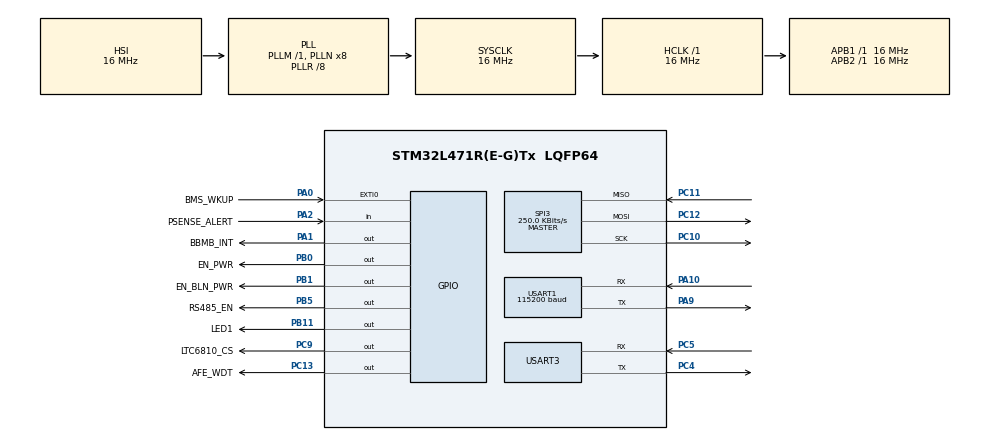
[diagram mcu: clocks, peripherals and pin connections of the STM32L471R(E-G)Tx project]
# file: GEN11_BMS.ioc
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Dma.Request0=USART1_RX
Dma.Request1=USART1_TX
Dma.USART1_RX.0.Direction=DMA_PERIPH_TO_MEMORY
Dma.USART1_RX.0.Instance=DMA1_Channel5
Dma.USART1_RX.0.MemDataAlignment=DMA_MDATAALIGN_BYTE
Dma.USART1_RX.0.MemInc=DMA_MINC_ENABLE
Dma.USART1_RX.0.Mode=DMA_CIRCULAR
Dma.USART1_RX.0.PeriphDataAlignment=DMA_PDATAALIGN_BYTE
Dma.USART1_RX.0.PeriphInc=DMA_PINC_DISABLE
Dma.USART1_RX.0.Priority=DMA_PRIORITY_HIGH
Dma.USART1_TX.1.Direction=DMA_MEMORY_TO_PERIPH
Dma.USART1_TX.1.Instance=DMA1_Channel4
Dma.USART1_TX.1.MemDataAlignment=DMA_MDATAALIGN_BYTE
Dma.USART1_TX.1.MemInc=DMA_MINC_ENABLE
Dma.USART1_TX.1.Mode=DMA_NORMAL
Dma.USART1_TX.1.PeriphDataAlignment=DMA_PDATAALIGN_BYTE
Dma.USART1_TX.1.PeriphInc=DMA_PINC_DISABLE
Dma.USART1_TX.1.Priority=DMA_PRIORITY_MEDIUM
FREERTOS.Tasks01=defaultTask,0,128,StartDefaultTask,Default,NULL,Dynamic,NULL,NULL
FREERTOS.configTOTAL_HEAP_SIZE=15000
FREERTOS.configUSE_NEWLIB_REENTRANT=1
FREERTOS.configUSE_TIMERS=1
Mcu.Family=STM32L4
Mcu.Name=STM32L471R(E-G)Tx
Mcu.Package=LQFP64
NVIC.DMA1_Channel4_IRQn=true\:5\:0\:false\:false\:true\:true\:false\:true\:true
NVIC.DMA1_Channel5_IRQn=true\:5\:0\:false\:false\:true\:true\:false\:true\:true
NVIC.PriorityGroup=NVIC_PRIORITYGROUP_4
NVIC.TIM6_DAC_IRQn=true\:15\:0\:false\:false\:true\:false\:false\:true\:true
NVIC.TIM7_IRQn=true\:5\:0\:false\:false\:true\:true\:true\:true\:true
NVIC.TimeBase=TIM6_DAC_IRQn
NVIC.TimeBaseIP=TIM6
NVIC.USART1_IRQn=true\:5\:0\:false\:false\:true\:true\:true\:true\:true
PA0.GPIO_Label=BMS_WKUP
PA0.Signal=GPXTI0
PA1.GPIO_Label=BBMB_INT
PA1.Signal=GPIO_Output
PA10.Mode=Asynchronous
PA10.Signal=USART1_RX
PA13\ (JTMS-SWDIO).Mode=JTAG_5_pins
PA13\ (JTMS-SWDIO).Signal=SYS_JTMS-SWDIO
PA14\ (JTCK-SWCLK).Mode=JTAG_5_pins
PA14\ (JTCK-SWCLK).Signal=SYS_JTCK-SWCLK
PA15\ (JTDI).Mode=JTAG_5_pins
PA15\ (JTDI).Signal=SYS_JTDI
PA2.GPIO_Label=PSENSE_ALERT
PA2.Signal=GPIO_Input
PA9.Mode=Asynchronous
PA9.Signal=USART1_TX
PB0.GPIO_Label=EN_PWR
PB0.Signal=GPIO_Output
PB1.GPIO_Label=EN_BLN_PWR
PB1.Signal=GPIO_Output
PB11.GPIO_Label=LED1
PB11.Signal=GPIO_Output
PB3\ (JTDO-TRACESWO).Mode=JTAG_5_pins
PB3\ (JTDO-TRACESWO).Signal=SYS_JTDO-SWO
PB4\ (NJTRST).Mode=JTAG_5_pins
PB4\ (NJTRST).Signal=SYS_JTRST
PB5.GPIO_Label=RS485_EN
PB5.Signal=GPIO_Output
PC10.Mode=Full_Duplex_Master
PC10.Signal=SPI3_SCK
PC11.Mode=Full_Duplex_Master
PC11.Signal=SPI3_MISO
PC12.Mode=Full_Duplex_Master
PC12.Signal=SPI3_MOSI
PC13.GPIO_Label=AFE_WDT
PC13.Signal=GPIO_Output
PC4.Mode=Asynchronous
PC4.Signal=USART3_TX
PC5.Mode=Asynchronous
PC5.Signal=USART3_RX
PC9.GPIO_Label=LTC6810_CS
PC9.Signal=GPIO_Output
PH0-OSC_IN\ (PH0).Mode=HSE-External-Oscillator
PH0-OSC_IN\ (PH0).Signal=RCC_OSC_IN
PH1-OSC_OUT\ (PH1).Mode=HSE-External-Oscillator
PH1-OSC_OUT\ (PH1).Signal=RCC_OSC_OUT
ProjectManager.HeapSize=0x200
ProjectManager.StackSize=0x400
ProjectManager.TargetToolchain=STM32CubeIDE
RCC.ADCFreq_Value=64000000
RCC.AHBFreq_Value=16000000
RCC.APB1Freq_Value=16000000
RCC.APB1TimFreq_Value=16000000
RCC.APB2Freq_Value=16000000
RCC.APB2TimFreq_Value=16000000
RCC.CortexFreq_Value=16000000
RCC.HCLKFreq_Value=16000000
RCC.HSE_VALUE=8000000
RCC.HSI_VALUE=16000000
RCC.LSE_VALUE=32768
RCC.MSI_VALUE=4000000
RCC.PLLR=RCC_PLLR_DIV8
RCC.PLLSourceVirtual=RCC_PLLSOURCE_HSI
RCC.SYSCLKFreq_VALUE=16000000
RCC.SYSCLKSource=RCC_SYSCLKSOURCE_PLLCLK
RCC.VCOOutputFreq_Value=128000000
SPI3.BaudRatePrescaler=SPI_BAUDRATEPRESCALER_64
SPI3.CLKPhase=SPI_PHASE_2EDGE
SPI3.CLKPolarity=SPI_POLARITY_HIGH
SPI3.CalculateBaudRate=250.0 KBits/s
SPI3.DataSize=SPI_DATASIZE_8BIT
SPI3.Direction=SPI_DIRECTION_2LINES
SPI3.Mode=SPI_MODE_MASTER
SPI3.VirtualType=VM_MASTER
TIM7.Period=999
TIM7.Prescaler=63999
USART1.BaudRate=115200
USART1.OneBitSampling=UART_ONE_BIT_SAMPLE_DISABLE
USART1.VirtualMode-Asynchronous=VM_ASYNC
USART3.VirtualMode-Asynchronous=VM_ASYNC
VP_CRC_VS_CRC.Mode=CRC_Activate
VP_FREERTOS_VS_CMSIS_V1.Mode=CMSIS_V1
VP_SYS_VS_tim6.Mode=TIM6
VP_TIM7_VS_ClockSourceINT.Mode=Enable_Timer
board=custom

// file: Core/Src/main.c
/* USER CODE BEGIN Header */
/**
  ******************************************************************************
  * @file           : main.c
  * @brief          : Main program body
  ******************************************************************************
  * @attention
  *
  * Copyright (c) 2022 STMicroelectronics.
  * All rights reserved.
  *
  * This software is licensed under terms that can be found in the LICENSE file
  * in the root directory of this software component.
  * If no LICENSE file comes with this software, it is provided AS-IS.
  *
  ******************************************************************************
  */
/* USER CODE END Header */
#include "main.h"
#include "cmsis_os.h"

/* USER CODE BEGIN Includes */
#include "buart.h"
#include "btcp.h"
#include "protocol_ids.h"
//#include "batteryEKF.h"
#include "LTC6810.h"
#include "timers.h"
/* USER CODE END Includes */

/* USER CODE BEGIN PD */
// -------------- NEED TO UPDATE FOR EVERY BMS BEFORE FLASHING --------------//
#define MY_ID 1 //ID of this BMS (needed to determine if BBMB is talking to me or another BMS)
// ^^^^^^^^^^^^^^ NEED TO UPDATE FOR EVERY BMS BEFORE FLASHING ^^^^^^^^^^^^^^//

#define NUM_CELLS 6
#define NUM_TEMP_SENSE 3
#define SEND_PERIOD 200
#define MEAS_PERIOD 200

#define OV_THRESHOLD 4.2
#define UV_THRESHOLD 2.5
#define OT_THRESHOLD 60

#define TEMP_CORRECTION_MULTIPLIER 1.0
#define TEMP_CORRECTION_OFFSET 0.0

#define TCP_ID BMS_ID

/* USER CODE END PD */

 CRC_HandleTypeDef hcrc;

SPI_HandleTypeDef hspi3;

TIM_HandleTypeDef htim7;

UART_HandleTypeDef huart1;
UART_HandleTypeDef huart3;
DMA_HandleTypeDef hdma_usart1_rx;
DMA_HandleTypeDef hdma_usart1_tx;

osThreadId defaultTaskHandle;
/* USER CODE BEGIN PV */
uint8_t dataToSend[16]; //data organized by function [LTC6810CommandGenerate]
//ready to be transmitted via SPI3
int messageInBinary; //write this in binary. This goes into [LTC6810CommandGenerate]
uint8_t dataToReceive[8] = { 0, 0, 0, 0, 0, 0, 0, 0 };//voltage data from LTC6810 via SPI
uint8_t MSG[500] = { '\0' }; //for sending UART message

/* USER CODE END PV */

void SystemClock_Config(void);
static void MX_GPIO_Init(void);
static void MX_USART1_UART_Init(void);
static void MX_USART3_UART_Init(void);
static void MX_CRC_Init(void);
static void MX_DMA_Init(void);
static void MX_SPI3_Init(void);
static void MX_TIM7_Init(void);
void StartDefaultTask(void const * argument);

/* USER CODE BEGIN PFP */
void LTC6810_callback(TimerHandle_t xTimer);

void send_temp_volt();
void send_error_msg(uint8_t cell_id, uint8_t error_code,  float data_to_send);

/* USER CODE END PFP */

/* USER CODE BEGIN 0 */
//--- COMMS ---///
B_uartHandle_t* buart;
B_tcpHandle_t* btcp;

//EKF_Battery battery;

float voltage_array[NUM_CELLS]; //Voltage measurements
float SoC_array[NUM_CELLS]; //State of Charge of each cell
float temperature_array[NUM_TEMP_SENSE]; //Temperature measurements

//--- LTC6810 ---//
uint8_t start_LTC6810_meas = 1; //Flag to start LTC6810 measurements
int temp1, temp2, temp3, temp4, temp5, temp6; // data received via spi, msb which?
/* USER CODE END 0 */

int main(void)
{

  /* MCU Configuration--------------------------------------------------------*/

  /* Reset of all peripherals, Initializes the Flash interface and the Systick. */
  HAL_Init();

  /* Configure the system clock */
  SystemClock_Config();

  /* Initialize all configured peripherals */
  MX_GPIO_Init();
  MX_USART1_UART_Init();
  MX_USART3_UART_Init();
  MX_CRC_Init();
  MX_DMA_Init();
  MX_SPI3_Init();
  MX_TIM7_Init();
  /* USER CODE BEGIN 2 */
  //--- MCU OK LED ---//
  NVIC_EnableIRQ(TIM7_IRQn);
  HAL_TIM_Base_Start_IT((TIM_HandleTypeDef*) &htim7); //Blink LED to show that CPU is still alive

  //--- COMMS ---//
  buart = B_uartStart(&huart1);
  btcp = B_tcpStart_bms(BMS_ID, &buart, buart, 1, &hcrc);

  //--- LTC6810 ---//
  LTC6810Init(0, 0, 1, 0, 0, 0, 0 ,0);

  //--- FREERTOS ---//
  xTimerStart(xTimerCreate("LTC6810_Timer",  pdMS_TO_TICKS(MEAS_PERIOD), pdTRUE, (void *)0, LTC6810_callback), 0); //Temperature and voltage measurements

  //--- SOC ALGO ---//
//  initBatteryAlgo(&battery);

  /* USER CODE END 2 */

  /* Create the thread(s) */
  /* definition and creation of defaultTask */
  osThreadDef(defaultTask, StartDefaultTask, osPriorityNormal, 0, 128);
  defaultTaskHandle = osThreadCreate(osThread(defaultTask), NULL);

  /* Start scheduler */
  osKernelStart();

  /* We should never get here as control is now taken by the scheduler */
  /* Infinite loop */
  while (1)
  {

  }
}

void SystemClock_Config(void)
{
  RCC_OscInitTypeDef RCC_OscInitStruct = {0};
  RCC_ClkInitTypeDef RCC_ClkInitStruct = {0};

  /** Configure the main internal regulator output voltage
  */
  if (HAL_PWREx_ControlVoltageScaling(PWR_REGULATOR_VOLTAGE_SCALE1) != HAL_OK)
  {
    Error_Handler();
  }

  /** Initializes the RCC Oscillators according to the specified parameters
  * in the RCC_OscInitTypeDef structure.
  */
  RCC_OscInitStruct.OscillatorType = RCC_OSCILLATORTYPE_HSI;
  RCC_OscInitStruct.HSIState = RCC_HSI_ON;
  RCC_OscInitStruct.HSICalibrationValue = RCC_HSICALIBRATION_DEFAULT;
  RCC_OscInitStruct.PLL.PLLState = RCC_PLL_ON;
  RCC_OscInitStruct.PLL.PLLSource = RCC_PLLSOURCE_HSI;
  RCC_OscInitStruct.PLL.PLLM = 1;
  RCC_OscInitStruct.PLL.PLLN = 8;
  RCC_OscInitStruct.PLL.PLLP = RCC_PLLP_DIV7;
  RCC_OscInitStruct.PLL.PLLQ = RCC_PLLQ_DIV2;
  RCC_OscInitStruct.PLL.PLLR = RCC_PLLR_DIV8;
  if (HAL_RCC_OscConfig(&RCC_OscInitStruct) != HAL_OK)
  {
    Error_Handler();
  }

  /** Initializes the CPU, AHB and APB buses clocks
  */
  RCC_ClkInitStruct.ClockType = RCC_CLOCKTYPE_HCLK|RCC_CLOCKTYPE_SYSCLK
                              |RCC_CLOCKTYPE_PCLK1|RCC_CLOCKTYPE_PCLK2;
  RCC_ClkInitStruct.SYSCLKSource = RCC_SYSCLKSOURCE_PLLCLK;
  RCC_ClkInitStruct.AHBCLKDivider = RCC_SYSCLK_DIV1;
  RCC_ClkInitStruct.APB1CLKDivider = RCC_HCLK_DIV1;
  RCC_ClkInitStruct.APB2CLKDivider = RCC_HCLK_DIV1;

  if (HAL_RCC_ClockConfig(&RCC_ClkInitStruct, FLASH_LATENCY_0) != HAL_OK)
  {
    Error_Handler();
  }
}

static void MX_CRC_Init(void)
{

  hcrc.Instance = CRC;
  hcrc.Init.DefaultPolynomialUse = DEFAULT_POLYNOMIAL_ENABLE;
  hcrc.Init.DefaultInitValueUse = DEFAULT_INIT_VALUE_ENABLE;
  hcrc.Init.InputDataInversionMode = CRC_INPUTDATA_INVERSION_NONE;
  hcrc.Init.OutputDataInversionMode = CRC_OUTPUTDATA_INVERSION_DISABLE;
  hcrc.InputDataFormat = CRC_INPUTDATA_FORMAT_BYTES;
  if (HAL_CRC_Init(&hcrc) != HAL_OK)
  {
    Error_Handler();
  }

}

static void MX_SPI3_Init(void)
{

  /* SPI3 parameter configuration*/
  hspi3.Instance = SPI3;
  hspi3.Init.Mode = SPI_MODE_MASTER;
  hspi3.Init.Direction = SPI_DIRECTION_2LINES;
  hspi3.Init.DataSize = SPI_DATASIZE_8BIT;
  hspi3.Init.CLKPolarity = SPI_POLARITY_HIGH;
  hspi3.Init.CLKPhase = SPI_PHASE_2EDGE;
  hspi3.Init.NSS = SPI_NSS_SOFT;
  hspi3.Init.BaudRatePrescaler = SPI_BAUDRATEPRESCALER_64;
  hspi3.Init.FirstBit = SPI_FIRSTBIT_MSB;
  hspi3.Init.TIMode = SPI_TIMODE_DISABLE;
  hspi3.Init.CRCCalculation = SPI_CRCCALCULATION_DISABLE;
  hspi3.Init.CRCPolynomial = 7;
  hspi3.Init.CRCLength = SPI_CRC_LENGTH_DATASIZE;
  hspi3.Init.NSSPMode = SPI_NSS_PULSE_DISABLE;
  if (HAL_SPI_Init(&hspi3) != HAL_OK)
  {
    Error_Handler();
  }

}

static void MX_TIM7_Init(void)
{

  TIM_MasterConfigTypeDef sMasterConfig = {0};

  htim7.Instance = TIM7;
  htim7.Init.Prescaler = 63999;
  htim7.Init.CounterMode = TIM_COUNTERMODE_UP;
  htim7.Init.Period = 999;
  htim7.Init.AutoReloadPreload = TIM_AUTORELOAD_PRELOAD_DISABLE;
  if (HAL_TIM_Base_Init(&htim7) != HAL_OK)
  {
    Error_Handler();
  }
  sMasterConfig.MasterOutputTrigger = TIM_TRGO_RESET;
  sMasterConfig.MasterSlaveMode = TIM_MASTERSLAVEMODE_DISABLE;
  if (HAL_TIMEx_MasterConfigSynchronization(&htim7, &sMasterConfig) != HAL_OK)
  {
    Error_Handler();
  }

}

static void MX_USART1_UART_Init(void)
{

  huart1.Instance = USART1;
  huart1.Init.BaudRate = 115200;
  huart1.Init.WordLength = UART_WORDLENGTH_8B;
  huart1.Init.StopBits = UART_STOPBITS_1;
  huart1.Init.Parity = UART_PARITY_NONE;
  huart1.Init.Mode = UART_MODE_TX_RX;
  huart1.Init.HwFlowCtl = UART_HWCONTROL_NONE;
  huart1.Init.OverSampling = UART_OVERSAMPLING_16;
  huart1.Init.OneBitSampling = UART_ONE_BIT_SAMPLE_DISABLE;
  huart1.AdvancedInit.AdvFeatureInit = UART_ADVFEATURE_NO_INIT;
  if (HAL_UART_Init(&huart1) != HAL_OK)
  {
    Error_Handler();
  }

}

static void MX_USART3_UART_Init(void)
{

  huart3.Instance = USART3;
  huart3.Init.BaudRate = 115200;
  huart3.Init.WordLength = UART_WORDLENGTH_8B;
  huart3.Init.StopBits = UART_STOPBITS_1;
  huart3.Init.Parity = UART_PARITY_NONE;
  huart3.Init.Mode = UART_MODE_TX_RX;
  huart3.Init.HwFlowCtl = UART_HWCONTROL_NONE;
  huart3.Init.OverSampling = UART_OVERSAMPLING_16;
  huart3.Init.OneBitSampling = UART_ONE_BIT_SAMPLE_DISABLE;
  huart3.AdvancedInit.AdvFeatureInit = UART_ADVFEATURE_NO_INIT;
  if (HAL_UART_Init(&huart3) != HAL_OK)
  {
    Error_Handler();
  }

}

static void MX_DMA_Init(void)
{

  /* DMA controller clock enable */
  __HAL_RCC_DMA1_CLK_ENABLE();

  /* DMA interrupt init */
  /* DMA1_Channel4_IRQn interrupt configuration */
  HAL_NVIC_SetPriority(DMA1_Channel4_IRQn, 5, 0);
  HAL_NVIC_EnableIRQ(DMA1_Channel4_IRQn);
  /* DMA1_Channel5_IRQn interrupt configuration */
  HAL_NVIC_SetPriority(DMA1_Channel5_IRQn, 5, 0);
  HAL_NVIC_EnableIRQ(DMA1_Channel5_IRQn);

}

static void MX_GPIO_Init(void)
{
  GPIO_InitTypeDef GPIO_InitStruct = {0};

  /* GPIO Ports Clock Enable */
  __HAL_RCC_GPIOC_CLK_ENABLE();
  __HAL_RCC_GPIOH_CLK_ENABLE();
  __HAL_RCC_GPIOA_CLK_ENABLE();
  __HAL_RCC_GPIOB_CLK_ENABLE();
  __HAL_RCC_GPIOD_CLK_ENABLE();

  /*Configure GPIO pin Output Level */
  HAL_GPIO_WritePin(GPIOC, AFE_WDT_Pin|LTC6810_CS_Pin, GPIO_PIN_RESET);

  /*Configure GPIO pin Output Level */
  HAL_GPIO_WritePin(BBMB_INT_GPIO_Port, BBMB_INT_Pin, GPIO_PIN_RESET);

  /*Configure GPIO pin Output Level */
  HAL_GPIO_WritePin(GPIOB, EN_PWR_Pin|EN_BLN_PWR_Pin|LED1_Pin|RS485_EN_Pin, GPIO_PIN_RESET);

  /*Configure GPIO pins : AFE_WDT_Pin LTC6810_CS_Pin */
  GPIO_InitStruct.Pin = AFE_WDT_Pin|LTC6810_CS_Pin;
  GPIO_InitStruct.Mode = GPIO_MODE_OUTPUT_PP;
  GPIO_InitStruct.Pull = GPIO_NOPULL;
  GPIO_InitStruct.Speed = GPIO_SPEED_FREQ_LOW;
  HAL_GPIO_Init(GPIOC, &GPIO_InitStruct);

  /*Configure GPIO pins : PC14 PC15 PC0 PC1
                           PC2 PC3 PC6 PC7
                           PC8 */
  GPIO_InitStruct.Pin = GPIO_PIN_14|GPIO_PIN_15|GPIO_PIN_0|GPIO_PIN_1
                          |GPIO_PIN_2|GPIO_PIN_3|GPIO_PIN_6|GPIO_PIN_7
                          |GPIO_PIN_8;
  GPIO_InitStruct.Mode = GPIO_MODE_ANALOG;
  GPIO_InitStruct.Pull = GPIO_NOPULL;
  HAL_GPIO_Init(GPIOC, &GPIO_InitStruct);

  /*Configure GPIO pin : BMS_WKUP_Pin */
  GPIO_InitStruct.Pin = BMS_WKUP_Pin;
  GPIO_InitStruct.Mode = GPIO_MODE_IT_RISING;
  GPIO_InitStruct.Pull = GPIO_NOPULL;
  HAL_GPIO_Init(BMS_WKUP_GPIO_Port, &GPIO_InitStruct);

  /*Configure GPIO pin : BBMB_INT_Pin */
  GPIO_InitStruct.Pin = BBMB_INT_Pin;
  GPIO_InitStruct.Mode = GPIO_MODE_OUTPUT_PP;
  GPIO_InitStruct.Pull = GPIO_NOPULL;
  GPIO_InitStruct.Speed = GPIO_SPEED_FREQ_LOW;
  HAL_GPIO_Init(BBMB_INT_GPIO_Port, &GPIO_InitStruct);

  /*Configure GPIO pin : PSENSE_ALERT_Pin */
  GPIO_InitStruct.Pin = PSENSE_ALERT_Pin;
  GPIO_InitStruct.Mode = GPIO_MODE_INPUT;
  GPIO_InitStruct.Pull = GPIO_NOPULL;
  HAL_GPIO_Init(PSENSE_ALERT_GPIO_Port, &GPIO_InitStruct);

  /*Configure GPIO pins : PA3 PA4 PA5 PA6
                           PA7 PA8 PA11 PA12 */
  GPIO_InitStruct.Pin = GPIO_PIN_3|GPIO_PIN_4|GPIO_PIN_5|GPIO_PIN_6
                          |GPIO_PIN_7|GPIO_PIN_8|GPIO_PIN_11|GPIO_PIN_12;
  GPIO_InitStruct.Mode = GPIO_MODE_ANALOG;
  GPIO_InitStruct.Pull = GPIO_NOPULL;
  HAL_GPIO_Init(GPIOA, &GPIO_InitStruct);

  /*Configure GPIO pins : EN_PWR_Pin EN_BLN_PWR_Pin LED1_Pin RS485_EN_Pin */
  GPIO_InitStruct.Pin = EN_PWR_Pin|EN_BLN_PWR_Pin|LED1_Pin|RS485_EN_Pin;
  GPIO_InitStruct.Mode = GPIO_MODE_OUTPUT_PP;
  GPIO_InitStruct.Pull = GPIO_NOPULL;
  GPIO_InitStruct.Speed = GPIO_SPEED_FREQ_LOW;
  HAL_GPIO_Init(GPIOB, &GPIO_InitStruct);

  /*Configure GPIO pins : PB2 PB10 PB12 PB13
                           PB14 PB15 PB6 PB7
                           PB8 PB9 */
  GPIO_InitStruct.Pin = GPIO_PIN_2|GPIO_PIN_10|GPIO_PIN_12|GPIO_PIN_13
                          |GPIO_PIN_14|GPIO_PIN_15|GPIO_PIN_6|GPIO_PIN_7
                          |GPIO_PIN_8|GPIO_PIN_9;
  GPIO_InitStruct.Mode = GPIO_MODE_ANALOG;
  GPIO_InitStruct.Pull = GPIO_NOPULL;
  HAL_GPIO_Init(GPIOB, &GPIO_InitStruct);

  /*Configure GPIO pin : PD2 */
  GPIO_InitStruct.Pin = GPIO_PIN_2;
  GPIO_InitStruct.Mode = GPIO_MODE_ANALOG;
  GPIO_InitStruct.Pull = GPIO_NOPULL;
  HAL_GPIO_Init(GPIOD, &GPIO_InitStruct);

}

/* USER CODE BEGIN 4 */
void serialParse(B_tcpPacket_t *pkt){
	switch(pkt->senderID){
	  case BBMB_ID: //Parse data from BBMB
		  //--- SoC REQUEST FROM BBMB ---//
		  /* BBMB will receive SoC packet, voltage packet and temperature packet*/
		if((pkt->data[0] == BBMB_STATE_OF_CHARGE_ID) && (pkt->data[1] == MY_ID)){ //BBMB is asking SoC from me
			float current;
			current = arrayToFloat(pkt->data + 2);

			//SoC computation for each 14P group (the assumption is that the voltage measurements are recent enough
			for (int i = 0; i < NUM_CELLS; i++){
//					SoC_array[i] = run_EKF(&battery.batteryPack[i], current, voltage_array[i]);
			}

			//Send back SoC for all cells
			uint8_t buf_soc[4 + 5*4]; //[DATA ID, MODULE ID, SoC group #0, SoC group #1, ... , SoC group #4]
			buf_soc[0] = BMS_CELL_SOC_ID;
			buf_soc[1] = MY_ID;

			//Pack SoCs into buffer
			for (int i = 0; i < 5; i++){
				if (i >= NUM_CELLS){
					for (int j = 0; j < sizeof(float); j++){	buf_soc[4 + sizeof(float) * i + j] = -1; }	//Just fill with -1 if it is to be empty

				} else {
					uint8_t floatArray[4];
					floatToArray(SoC_array[i], floatArray); //Convert float into array

					//Pack into buffer
					for (int j = 0; j < sizeof(float); j++){
						buf_soc[4 + sizeof(float) * i + j] = floatArray[j];
					}
				}
			}
			//Send
			HAL_GPIO_WritePin(RS485_EN_GPIO_Port, RS485_EN_Pin, GPIO_PIN_SET); //Enable RS485 driver
			B_tcpSend(btcp, buf_soc, sizeof(buf_soc));
			HAL_GPIO_WritePin(RS485_EN_GPIO_Port, RS485_EN_Pin, GPIO_PIN_RESET); //Disable RS485 driver

			send_temp_volt(); //Also, send temp and volt
		}
		break;
	}
}

void send_temp_volt(){
	//--- SEND TEMPERATURE ---//
		uint8_t buf_temp[4 + 6*4]; //[DATA ID, MODULE ID, Temp group #0, Temp group #1, ... , Temp group #4]
		buf_temp[0] = BMS_CELL_TEMP;
		buf_temp[1] = MY_ID;

		//Pack temperatures into buffer
		for (int i = 0; i < 6; i++){
			if (i >= 3){ //Thermistors not populated
				for (int j = 0; j < sizeof(float); j++){	buf_temp[4 + sizeof(float) * i + j] = -1; }	//Just fill with -1 if it is to be empty

			} else {
				uint8_t floatArray[4];
				floatToArray(temperature_array[i], floatArray); //Convert float into array

				//Pack into buffer
				for (int j = 0; j < sizeof(float); j++){
					buf_temp[4 + sizeof(float) * i + j] = floatArray[j];
				}
			}
		}

		//Send
		HAL_GPIO_WritePin(RS485_EN_GPIO_Port, RS485_EN_Pin, GPIO_PIN_SET); //Enable RS485 driver
		B_tcpSend(btcp, buf_temp, sizeof(buf_temp));
		HAL_GPIO_WritePin(RS485_EN_GPIO_Port, RS485_EN_Pin, GPIO_PIN_RESET); //Disable RS485 driver

	//--- SEND VOLTAGE ---//
		uint8_t buf_voltage[4 + 6*4]; //[DATA ID, MODULE ID, Voltage group #0, Voltage group #1, ... , Voltage group #4]
		buf_voltage[0] = BMS_CELL_VOLT;
		buf_voltage[1] = MY_ID;

		//Pack voltage into buffer
		for (int i = 0; i < 6; i++){
			if (i >= NUM_CELLS){ //Thermistors not populated
				for (int j = 0; j < sizeof(float); j++){	buf_voltage[4 + sizeof(float) * i + j] = -1; }	//Just fill with -1 if it is to be empty

			} else {
				uint8_t floatArray[4];
				floatToArray(voltage_array[i], floatArray); //Convert float into array

				//Pack into buffer
				for (int j = 0; j < sizeof(float); j++){
					buf_voltage[4 + sizeof(float) * i + j] = floatArray[j];
				}
			}

		//Send
		HAL_GPIO_WritePin(RS485_EN_GPIO_Port, RS485_EN_Pin, GPIO_PIN_SET); //Enable RS485 driver
		B_tcpSend(btcp, buf_voltage, sizeof(buf_voltage));
		HAL_GPIO_WritePin(RS485_EN_GPIO_Port, RS485_EN_Pin, GPIO_PIN_RESET); //Disable RS485 driver
	}
}

void LTC6810_callback(TimerHandle_t xTimer){
	//This callback is called periodically to update voltage and temperature measurements
	uint16_t local_voltage_array[6]; //Voltage of each cell
	uint16_t local_temp_array[3]; //Temperature readings
	uint8_t buf_temp[4 + 6*4]; //[DATA ID, MODULE ID, Temp group #0, Temp group #1, ... , Temp group #4]

//	while(1){
//		HAL_UART_Receive(&huart1, buf_temp, 1, 10000);
//		vTaskDelay(100);
//	}
//	while (1){
//		char buf[3] = {1, 2, 3};
////		HAL_UART_Transmit(&huart1, buf, sizeof(buf), 10);
////
//		//Send
//		HAL_GPIO_WritePin(RS485_EN_GPIO_Port, RS485_EN_Pin, GPIO_PIN_SET); //Enable RS485 driver
//		B_tcpSend(btcp, buf, sizeof(buf));
////		HAL_UART_Transmit(&huart1, buf, sizeof(buf), 10);
////		HAL_UART_Transmit(&huart3, buf, sizeof(buf), 10);
//		HAL_GPIO_WritePin(RS485_EN_GPIO_Port, RS485_EN_Pin, GPIO_PIN_RESET); //Disable RS485 driver
////
////		vTaskDelay(100);
//	}

	if (start_LTC6810_meas){
		//---- LTC6810 MEASUREMENTS ----//
		while(1){ //testing
			readVolt(local_voltage_array); //Places voltage in temp 1, temp
			readTemp(local_temp_array, 0, 0, 0, 0, 0); //Places temperature in temp 1, temp
		}

		//---- BATTERY FAULT CHECK----//
		//Check for UV, OV faults
		for (int i = 0; i < 5; i++){
			if (local_voltage_array[i] > OV_THRESHOLD){ //Overvoltage
				HAL_GPIO_WritePin(BBMB_INT_GPIO_Port, BBMB_INT_Pin, GPIO_PIN_RESET); //OV protection tripped, put car into safe state
				htim7.Instance->PSC = 10667; //Flash LED 6 times per sec (assuming 64MHz clock)
				HAL_GPIO_WritePin(BBMB_INT_GPIO_Port, BBMB_INT_Pin, GPIO_PIN_RESET); //Switch to 12V power
				send_error_msg(i, BMS_OV, voltage_array[i]);

			} else if (local_voltage_array[i] < UV_THRESHOLD){ //Undervoltage
				HAL_GPIO_WritePin(BBMB_INT_GPIO_Port, BBMB_INT_Pin, GPIO_PIN_RESET); //UV protection tripped, put car into safe state
				htim7.Instance->PSC = 10667; //Flash LED 6 times per sec (assuming 64MHz clock)
				send_error_msg(i, BMS_UV, voltage_array[i]);

			} else { //Voltage OK
				HAL_GPIO_WritePin(BBMB_INT_GPIO_Port, BBMB_INT_Pin, GPIO_PIN_SET); //Battery voltages OK
			}
		}

		//Check for OT faults
		for (int i = 0; i < 6; i++){
			if (local_temp_array[i] > OT_THRESHOLD){
				HAL_GPIO_WritePin(BBMB_INT_GPIO_Port, BBMB_INT_Pin, GPIO_PIN_RESET); //OT protection tripped, put car into safe state
				htim7.Instance->PSC = 10667; //Flash LED 6 times per sec (assuming 64MHz clock)
				send_error_msg(i, BMS_OT, temperature_array[i]);

			} else {
				HAL_GPIO_WritePin(BBMB_INT_GPIO_Port, BBMB_INT_Pin, GPIO_PIN_SET); //Battery voltages OK
			}
		}

		send_temp_volt(); //Also, send temp and volt

		//Update global variables
		taskENTER_CRITICAL();
		for (int i = 0; i < NUM_CELLS; i++){	voltage_array[i] = local_voltage_array[i];	}
		for (int i = 0; i < 3; i++){			temperature_array[i] = local_temp_array[i];	}
		taskEXIT_CRITICAL();
	} else {
		taskYIELD();
	}
}

void send_error_msg(uint8_t cell_id, uint8_t error_code,  float data_to_send){

}

int LTC6810Init(int GPIO4, int GPIO3, int GPIO2 ,int DCC5, int DCC4, int DCC3, int DCC2, int DCC1) {
	//This function initialize the LTC6810 ADC chip, shall be called at the start of the program
	//To modify the initialization setting, please refer to the Datasheet and the chart below
	/*
	 +-------+---------+---------+---------+---------+---------+---------+---------+--------+
	 | reg   | Bit7    | Bit6    | Bit5    | Bit4    | Bit3    | Bit2    | Bit1    | Bit0   |
	 +-------+---------+---------+---------+---------+---------+---------+---------+--------+
	 | CFGR0 | RSVD    | GPIO4   | GPIO3   | GPIO2   | GPIO1   | REFON   | DTEN    | ADCOPT |
	 +-------+---------+---------+---------+---------+---------+---------+---------+--------+
	 | CFGR1 | VUV[7]  | VUV[6]  | VUV[5]  | VUV[4]  | VUV[3]  | VUV[2]  | VUV[1]  | VUV[0] |
	 +-------+---------+---------+---------+---------+---------+---------+---------+--------+
	 | CFGR2 | VOV[3]  | VOV[2]  | VOV[1]  | VOV[0]  | VUV[11] | VUV[10] | VUV[9]  | VUV[8] |
	 +-------+---------+---------+---------+---------+---------+---------+---------+--------+
	 | CFGR3 | VOV[11] | VOV[10] | VOV[9]  | VOV[8]  | VOV[7]  | VOV[6]  | VOV[5]  | VOV[4] |
	 +-------+---------+---------+---------+---------+---------+---------+---------+--------+
	 | CFGR4 | DCC0    | MCAL    | DCC6    | DCC5    | DCC4    | DCC3    | DCC2    | DCC1   |
	 +-------+---------+---------+---------+---------+---------+---------+---------+--------+
	 | CFGR5 | DCTO[3] | DCTO[2] | DCTO[1] | DCTO[0] | SCONV   | FDRF    | DIS_RED | DTMEN  |
	 +-------+---------+---------+---------+---------+---------+---------+---------+--------+*/

	//connection to MUX for thermal measurements:
	//GPIO2 -> A0
	//GPIO3 -> A1
	//GPIO4 -> A2
	//GPIO1 shall always be set to 1 to avoid internal pull-down, as its the voltage reading pin.
	//A2 is MSB and A0 is MSB, if want channel 2 -> do A2=0, A1=1, A0=0
	//above is the table of configuration register bits. How
	int messageInBinary;
	int i;
	int data6Byte[48]; //[47] is MSB, CFGR0 Bit7
	uint8_t dataToSend[12]; //stores the command and PEC bit of WRCFG
	//2byte command, 2byte PEC, 6byte data, 2byte PEC

	uint8_t dataToReceive[8];

	//write configure command
	messageInBinary = 0b1;		//write config
	LTC6810CommandGenerate(messageInBinary, dataToSend);
	//set GPIO bits to 1 so they aren`t being pulled down internally by the chip.
	//set REFON to enable the 3V that goes to the chip
	//DTEN to 0 to disable discharge timer
	//ADCOPT bit to 0, use 422Hz as its stable
	//above are byte0, byte 1 full of 0s as VUV currently not used.
	messageInBinary = 0b0000110000000000; //CFGR0&1
	//now add the GPIO config
	messageInBinary = messageInBinary + 4096 * GPIO2 + 8192 * GPIO3
			+ 16384 * GPIO4;

	int MSG0[8];
	int MSG1[8];
	commandToArray(messageInBinary, MSG0, MSG1);
	for (i = 7; i >= 0; i--) {
		data6Byte[40 + i] = MSG0[i];
		data6Byte[32 + i] = MSG1[i];
	}

	//set the VOV and VUV as 0;
	messageInBinary = 0b0000000000000000; //CFGR2&3
	int MSG2[8];
	int MSG3[8];
	commandToArray(messageInBinary, MSG2, MSG3);
	for (i = 7; i >= 0; i--) {
		data6Byte[24 + i] = MSG2[i];
		data6Byte[16 + i] = MSG3[i];
	}

	//DCC = 0: discharge off, 1: discharge = on
	//MCAL = 1: enable multi-calibration. for this don`t use, turn to 0
	//DCTO: discharge timer. for now 0
	//SCONV: redundant measurement using S pin, disable for now (0)
	//FDRF: not using it anyway, to 0
	//DIS_RED: redundancy disable: set to 1 to disable
	//DTMEN: Discharge timer monitor, 0 to disable
	messageInBinary = 0b0000000000000010;
	messageInBinary += 256*DCC1 + 512*DCC2 + 1024*DCC3 + 2048*DCC4 +4096*DCC5;

	int MSG4[8];
	int MSG5[8];
	commandToArray(messageInBinary, MSG4, MSG5);
	for (i = 7; i >= 0; i--) {
		data6Byte[8 + i] = MSG4[i];
		data6Byte[0 + i] = MSG5[i];
	}

	//now create PEC bits based on above data
	int PEC0_6[8];
	int PEC1_6[8];
	generatePECbits6Byte(data6Byte, PEC0_6, PEC1_6);

	//change array back to bytes
	dataToSend[4] = arrayToByte(MSG0);
	dataToSend[5] = arrayToByte(MSG1);
	dataToSend[6] = arrayToByte(MSG2);
	dataToSend[7] = arrayToByte(MSG3);
	dataToSend[8] = arrayToByte(MSG4);
	dataToSend[9] = arrayToByte(MSG5);
	dataToSend[10] = arrayToByte(PEC0_6);
	dataToSend[11] = arrayToByte(PEC1_6);

	//now send the data

	HAL_GPIO_WritePin(GPIOB, GPIO_PIN_11, GPIO_PIN_RESET);
	HAL_GPIO_WritePin(GPIOC, GPIO_PIN_9, GPIO_PIN_RESET); //slave select low, transmit begin
	HAL_Delay(1); //require several us
	HAL_SPI_Transmit(&hspi3, dataToSend, 12, 100);
	HAL_Delay(1);
	HAL_GPIO_WritePin(GPIOB, GPIO_PIN_11, GPIO_PIN_SET);
	HAL_GPIO_WritePin(GPIOC, GPIO_PIN_9, GPIO_PIN_SET);

	//uint8_t MSG[50] = { '\0' };
	/*sprintf(MSG, "\r\n send = %d , %d, %d, %d, %d, %d, %d, %d \r\n ",
	 dataToSend[4], dataToSend[5], dataToSend[6], dataToSend[7],
	 dataToSend[8], dataToSend[9], dataToSend[10], dataToSend[11]);
	 HAL_UART_Transmit(&huart3, MSG, sizeof(MSG), 100);*/

	return 0; //temp

}

int readTemp(float*tempArray, int DCC5, int DCC4, int DCC3, int DCC2, int DCC1){
	//read Temp 0,1,2. Pass by reference to the input array.
	//if discharging, make DCC global variables so this don't disturb Discharge

	int cycle = 0;
	while(cycle<3){

		if(cycle ==0){
		LTC6810Init(0,0,0,DCC5, DCC4, DCC3, DCC2, DCC1);}//channel 1
		else if(cycle == 1){
		LTC6810Init(0,0,1,DCC5, DCC4, DCC3, DCC2, DCC1);}//channel 2
		else if(cycle == 2){
		LTC6810Init(0,1,0,DCC5, DCC4, DCC3, DCC2, DCC1);}//channel 3
	//cycle are 0,1,2

		messageInBinary = 0b10100010010;  //conversion GPIO1, command AXOW
		LTC6810CommandGenerate(messageInBinary, dataToSend);
		HAL_Delay(1);

		HAL_GPIO_WritePin(GPIOC, GPIO_PIN_9, GPIO_PIN_RESET);//slave low
		HAL_Delay(1);
		HAL_SPI_Transmit(&hspi3, dataToSend, 4/*byte*/, 100);
		HAL_GPIO_WritePin(GPIOC, GPIO_PIN_9, GPIO_PIN_SET);

		HAL_Delay(2);
		//now read from it
		messageInBinary = 0b1100; //read auxiliary group 1, command RDAUXA
				  //now receive those data
		LTC6810CommandGenerate(messageInBinary, dataToSend);
		HAL_GPIO_WritePin(GPIOC, GPIO_PIN_9, GPIO_PIN_RESET);

		HAL_Delay(1);
		HAL_SPI_Transmit(&hspi3, dataToSend, 4/*byte*/, 100);
		HAL_Delay(2); //ADD DELAY between Transmit & Receive
		HAL_SPI_Receive(&hspi3, dataToReceive, 6, 100);

		HAL_GPIO_WritePin(GPIOC, GPIO_PIN_9, GPIO_PIN_SET);
		//write value into array
		int tempSum = 256*dataToReceive[3] + dataToReceive[2];
		//float TempInC = 1/(1/298.15+(1/3950) * log((-10)/(tempSum/)))
		tempArray[cycle] = (float)tempSum;//msb of data
		//now convert
		//tempArray[cycle] = (tempArray[cycle] - 0.0618) /  0.596;

		//temp2 = dataToReceive[3];
		sprintf(MSG, "temp:%f, at%d \n ",tempArray[cycle], cycle);
		cycle++;

		HAL_GPIO_WritePin(GPIOB, GPIO_PIN_5, 1);//enable RS485 converter
		HAL_UART_Transmit(&huart3, MSG, sizeof(MSG), 100);
		HAL_UART_Transmit(&huart1, MSG, sizeof(MSG), 100);
		HAL_GPIO_WritePin(GPIOB, GPIO_PIN_5, 0);//disable RS485 converter

		}//end of while(cycle = sth)
	return 0;
}

int readVolt(float*voltArray){
	int VmessageInBinary;//for internal command

	  //first read first half of data
	  VmessageInBinary = 0b01101110000; //adcv discharge enable,7Hz
	  LTC6810CommandGenerate(VmessageInBinary, dataToSend);//generate the "check voltage command"
	  HAL_GPIO_WritePin(GPIOC, GPIO_PIN_9, GPIO_PIN_RESET); //slave select low, transmit begin
	  HAL_Delay(1); //require several us
	  HAL_SPI_Transmit(&hspi3, dataToSend, 4/*byte*/, 100);
	  //now receive those data
	  HAL_Delay(4); //ADD DELAY between Transmit & Receive
	  HAL_SPI_Receive(&hspi3, dataToReceive, 8, 100);
	  HAL_GPIO_WritePin(GPIOC, GPIO_PIN_9, GPIO_PIN_SET);

	  //Maybe Try fix this BUG???????

	  VmessageInBinary = 0b100;  //read cell voltage reg group 1;
	  LTC6810CommandGenerate(VmessageInBinary, dataToSend);
	  HAL_GPIO_WritePin(GPIOC, GPIO_PIN_9, GPIO_PIN_RESET); //slave select low, transmit begin
	  HAL_Delay(1); //require several us
	  HAL_SPI_Transmit(&hspi3, dataToSend, 4/*byte*/, 100);
	  HAL_Delay(3); //ADD DELAY between Transmit & Receive
	  HAL_SPI_Receive(&hspi3, dataToReceive, 8, 100);
	  HAL_GPIO_WritePin(GPIOC, GPIO_PIN_9, GPIO_PIN_SET);

	  voltArray[0] = voltageDataConversion(dataToReceive[0], dataToReceive[1]) /10000.0;
	  voltArray[1] = voltageDataConversion(dataToReceive[2], dataToReceive[3]) /10000.0;
	  voltArray[2] = voltageDataConversion(dataToReceive[4], dataToReceive[5]) /10000.0;

/*
	  v1 = voltageDataConversion(dataToReceive[0], dataToReceive[1]) ;
	  v2 = voltageDataConversion(dataToReceive[2], dataToReceive[3]) ;
	  v3 = voltageDataConversion(dataToReceive[4], dataToReceive[5]);
*/
	  VmessageInBinary = 0b110; //read cell voltage reg group 2;
	  LTC6810CommandGenerate(VmessageInBinary, dataToSend);
	  HAL_GPIO_WritePin(GPIOC, GPIO_PIN_9, GPIO_PIN_RESET); //slave select low, transmit begin
	  HAL_Delay(1); //require several us
	  HAL_SPI_Transmit(&hspi3, dataToSend, 4/*byte*/, 100);
	  HAL_Delay(3); //ADD DELAY between Transmit & Receive
	  HAL_SPI_Receive(&hspi3, dataToReceive, 8, 100);
	  HAL_GPIO_WritePin(GPIOB, GPIO_PIN_11, GPIO_PIN_SET);
	  HAL_GPIO_WritePin(GPIOC, GPIO_PIN_9, GPIO_PIN_SET);

	  voltArray[3] = voltageDataConversion(dataToReceive[0], dataToReceive[1]) /10000.0;
	  voltArray[4] = voltageDataConversion(dataToReceive[2], dataToReceive[3]) /10000.0;
	  voltArray[5] = voltageDataConversion(dataToReceive[4], dataToReceive[5]) /10000.0;
		/*
	  v4 = voltageDataConversion(dataToReceive[0], dataToReceive[1]) ;
	  v5 = voltageDataConversion(dataToReceive[2], dataToReceive[3]) ;
	  v6 = voltageDataConversion(dataToReceive[4], dataToReceive[5]) ;
*/
	  //now transmit through UART
	  sprintf(MSG, "voltage:  %f, %f, %f, %f, %f, %f \r\n ",voltArray[0],voltArray[1],voltArray[2],voltArray[3],voltArray[4],voltArray[5] );
	  //sprintf(MSG, "voltage:  %d, %d, %d, %d, %d, %d \r\n " ,v1,v2,v3,v4,v5,v6);
	  HAL_GPIO_WritePin(GPIOB, GPIO_PIN_5, 1);//enable RS485 converter
	  HAL_UART_Transmit(&huart3, MSG, sizeof(MSG), 500);
	  HAL_UART_Transmit(&huart1, MSG, sizeof(MSG), 100);
	  HAL_GPIO_WritePin(GPIOB, GPIO_PIN_5, 0);//disable RS485 converter
	  //clean the buffer
	  int clearmsg;
	  for (clearmsg = 0; clearmsg < 49; clearmsg++) {
	  				MSG[clearmsg] = '\0';
	  }
}

void convert_to_temp(uint16_t input_voltage[3], float output_temperature[3]){
	/* Used to convert raw ADC code to temperature */
	for (int i = 0; i < 3; i++){
		float corrected_voltage = TEMP_CORRECTION_MULTIPLIER * (input_voltage[i] / 10000.0  - TEMP_CORRECTION_OFFSET);
		float thermistor_resistance = 10.0 / ((2.8 / (float) corrected_voltage) - 1.0);
		output_temperature[i] = 1.0 / (0.003356 + 0.0002532 * log(thermistor_resistance / 10.0));
		output_temperature[i] = output_temperature[i] - 273.15;
	}
}
/* USER CODE END 4 */

void StartDefaultTask(void const * argument)
{
  for(;;)
  {
    osDelay(1);
  }
}

void HAL_TIM_PeriodElapsedCallback(TIM_HandleTypeDef *htim)
{
  if (htim->Instance == TIM6) {
    HAL_IncTick();
  }
  /* USER CODE BEGIN Callback 1 */
  else if (htim == &htim7){
	  HAL_GPIO_TogglePin(LED1_GPIO_Port, LED1_Pin);
  }
  /* USER CODE END Callback 1 */
}

void Error_Handler(void)
{
  __disable_irq();
  while (1)
  {
  }
}
